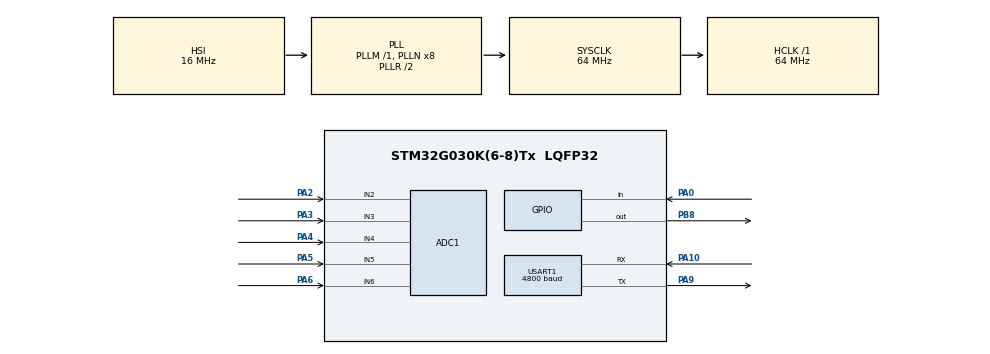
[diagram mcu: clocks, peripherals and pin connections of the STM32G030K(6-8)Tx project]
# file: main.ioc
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ADC1.Channel-0\#ChannelRegularConversion=ADC_CHANNEL_2
ADC1.NbrOfConversionFlag=1
ADC1.Rank-0\#ChannelRegularConversion=1
ADC1.SamplingTime-0\#ChannelRegularConversion=ADC_SAMPLINGTIME_COMMON_1
ADC1.SelectedChannel=ADC_CHANNEL_2|ADC_CHANNEL_3|ADC_CHANNEL_4|ADC_CHANNEL_5|ADC_CHANNEL_6
ADC1.master=1
Dma.ADC1.0.Direction=DMA_PERIPH_TO_MEMORY
Dma.ADC1.0.EventEnable=DISABLE
Dma.ADC1.0.Instance=DMA1_Channel1
Dma.ADC1.0.MemDataAlignment=DMA_MDATAALIGN_HALFWORD
Dma.ADC1.0.MemInc=DMA_MINC_ENABLE
Dma.ADC1.0.Mode=DMA_NORMAL
Dma.ADC1.0.PeriphDataAlignment=DMA_PDATAALIGN_HALFWORD
Dma.ADC1.0.PeriphInc=DMA_PINC_DISABLE
Dma.ADC1.0.Polarity=HAL_DMAMUX_REQ_GEN_RISING
Dma.ADC1.0.Priority=DMA_PRIORITY_LOW
Dma.ADC1.0.RequestNumber=1
Dma.ADC1.0.SignalID=NONE
Dma.ADC1.0.SyncEnable=DISABLE
Dma.ADC1.0.SyncPolarity=HAL_DMAMUX_SYNC_NO_EVENT
Dma.ADC1.0.SyncRequestNumber=1
Dma.ADC1.0.SyncSignalID=NONE
Dma.Request0=ADC1
Mcu.Family=STM32G0
Mcu.Name=STM32G030K(6-8)Tx
Mcu.Package=LQFP32
NVIC.DMA1_Channel1_IRQn=true\:0\:0\:false\:false\:true\:false\:true\:true
PA0.GPIO_PuPd=GPIO_PULLDOWN
PA0.Signal=GPIO_Input
PA10.Mode=Asynchronous
PA10.Signal=USART1_RX
PA13.Mode=Serial_Wire
PA13.Signal=SYS_SWDIO
PA14-BOOT0.Mode=Serial_Wire
PA14-BOOT0.Signal=SYS_SWCLK
PA2.Mode=IN2
PA2.Signal=ADC1_IN2
PA3.Mode=IN3
PA3.Signal=ADC1_IN3
PA4.Mode=IN4
PA4.Signal=ADC1_IN4
PA5.Mode=IN5
PA5.Signal=ADC1_IN5
PA6.Mode=IN6
PA6.Signal=ADC1_IN6
PA9.Mode=Asynchronous
PA9.Signal=USART1_TX
PB8.Signal=GPIO_Output
ProjectManager.HeapSize=0x200
ProjectManager.StackSize=0x400
ProjectManager.TargetToolchain=MDK-ARM V5.32
RCC.ADCFreq_Value=64000000
RCC.AHBFreq_Value=64000000
RCC.CortexFreq_Value=64000000
RCC.EXTERNAL_CLOCK_VALUE=12288000
RCC.HCLKFreq_Value=64000000
RCC.HSE_VALUE=8000000
RCC.HSI_VALUE=16000000
RCC.SYSCLKFreq_VALUE=64000000
RCC.SYSCLKSource=RCC_SYSCLKSOURCE_PLLCLK
RCC.VCOOutputFreq_Value=128000000
USART1.BaudRate=4800
USART1.VirtualMode-Asynchronous=VM_ASYNC
board=custom

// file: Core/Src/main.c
/* USER CODE BEGIN Header */
/**
  ******************************************************************************
  * @file           : main.c
  * @brief          : Main program body
  ******************************************************************************
  * @attention
  *
  * Copyright (c) 2026 STMicroelectronics.
  * All rights reserved.
  *
  * This software is licensed under terms that can be found in the LICENSE file
  * in the root directory of this software component.
  * If no LICENSE file comes with this software, it is provided AS-IS.
  *
  ******************************************************************************
  */
/* USER CODE END Header */
#include "main.h"
#include "adc.h"
#include "dma.h"
#include "usart.h"
#include "gpio.h"

/* USER CODE BEGIN Includes */
#include <stdio.h>
#include <string.h>
/* USER CODE END Includes */

/* USER CODE BEGIN PD */
#define ADC_CH_NUM        5U      /* CH1~CH5 = PA2~PA6 = ADC1_IN2~IN6 */
#define ADC_VREF_MV       3300U   /* VDDA = 3.3V */
#define ADC_FULL_SCALE    4095U   /* 12bit */

/* ---------------- 往从机发帧的节奏 ----------------
   以前是固定 500ms 发一帧，所以手上动作要等下一帧才反映到灯上，看起来"一级一级慢慢变"。
   现在改成：状态一变就立刻发（最小间隔 20ms 防抖），状态不变也至少 200ms 发一次保底。 */
#define SEND_MIN_INTERVAL_MS 20U    /* 两次上报的最小间隔（防止读数抖动时猛发） */
#define SEND_KEEPALIVE_MS    200U   /* 状态没变也至少这么久发一次 */
#define LED_BLINK_MS         500U   /* 主机板载蓝灯闪烁周期（和上报解耦） */

/* 迟滞（mV）：读数在门限附近抖动时，灯的档位不要来回跳。
   规则：>门限 -> 算 1；<门限-迟滞 -> 算 0；中间这段保持上一次状态不变 */
#define GLOVE_HYST_MV        40U

/* ---------------- PA0 按键标定相关 ---------------- */
#define KEY_GPIO_PORT     GPIOA
#define KEY_GPIO_PIN      GPIO_PIN_0
#define KEY_PRESSED_LEVEL 0U      /* 0 = 低电平按下（按键另一端接 GND，本板就是这样）
                                     1 = 高电平按下（按键另一端接 3.3V） */
#define KEY_DEBOUNCE_MS   20U     /* 按键去抖时间 */
#define KEY_SCAN_MS       10U     /* 主循环扫描按键的间隔 */
#define ADC_AVG_TIMES     10U     /* 每次按下采集 10 次 */
#define ADC_AVG_INTERVAL_MS 20U   /* 每次采集间隔 20ms */

/* 标定有效性：两次采样（伸直 / 弯曲）的差至少要有这么大，否则认为这一通道没真正变过姿势，
   标定无效 -> 保留原来的门限。100mV 是经验值，嫌松/紧可以调 */
#define GLOVE_CAL_MIN_DIFF_MV 100U
/* USER CODE END PD */

/* USER CODE BEGIN PV */
static uint16_t adc_raw[ADC_CH_NUM];   /* 本帧 ADC 原始值 0~4095 */
static uint32_t adc_mv[ADC_CH_NUM];    /* 换算后的电压 mV  */

/* DMA 的目标缓冲区：ADC 连续转换 + DMA 循环搬运，这里始终是"最新一帧"的 5 个值 */
static uint16_t adc_dma_buf[ADC_CH_NUM];

/* CH1~CH5 对应的 ADC 通道：PA2=IN2 ... PA6=IN6 */
static const uint32_t ADC_ChannelList[ADC_CH_NUM] =
{
  ADC_CHANNEL_2, ADC_CHANNEL_3, ADC_CHANNEL_4, ADC_CHANNEL_5, ADC_CHANNEL_6
};
static const uint32_t ADC_RankList[ADC_CH_NUM] =
{
  ADC_REGULAR_RANK_1, ADC_REGULAR_RANK_2, ADC_REGULAR_RANK_3,
  ADC_REGULAR_RANK_4, ADC_REGULAR_RANK_5
};

/* ---------------- 按键标定相关 ----------------
   第 1 次按下：采 10 次求平均 -> adc_avg1[]
   第 2 次按下：采 10 次求平均 -> adc_avg2[]
   第 3 次按下：glove_off[i] = (adc_avg1[i] + adc_avg2[i]) / 2，并回到第 1 次重新开始
   例：CH1 第一次 1500、第二次 1600 -> glove_off[0] = 1550                            */
static uint16_t adc_avg1[ADC_CH_NUM];      /* 第一次按下的平均值（mV） */
static uint16_t adc_avg2[ADC_CH_NUM];      /* 第二次按下的平均值（mV） */
static uint16_t glove_off[ADC_CH_NUM] =    /* 判定门限（mV），标定前先用原来的固定值 */
{
  8000, 8000, 8000, 1550, 1600
};
static uint8_t  key_stage = 0U;            /* 0=等第1次  1=已采第1次  2=已采第2次 */
static uint32_t last_send_tick = 0U;       /* 上一次往从机发帧的时刻 */
static uint8_t  last_sent_bits = 0xFFU;    /* 上一次发出去的 5bit 状态（0xFF = 还没发过，保证上电先发一帧） */
static uint32_t led_tick = 0U;             /* 板载蓝灯闪烁计时 */
/* USER CODE END PV */

void SystemClock_Config(void);

/* USER CODE BEGIN 0 */
/**
  * @brief  把 ADC1 配成 5 个规则通道 + DMA 循环搬运（CH1~CH5 = PA2~PA6 = IN2~IN6）
  * @note   1) CubeMX 里 ADC1 目前只勾了 1 个转换（IN2），所以这里重新配一遍；
  *            以后在 CubeMX 里把 5 个通道都勾上，这段再跑一次也不冲突（幂等）。
  *         2) 全程不用中断：ADC 连续转换，DMA 循环往 adc_dma_buf[] 搬，
  *            CPU 只在要上报时读一次缓冲区，完全不参与搬运。
  *         3) 放在 USER CODE 区，CubeMX 重新生成代码不会覆盖。
  */
static void ADC1_Init_5CH_DMA(void)
{
  ADC_ChannelConfTypeDef sConfig = {0};

  /* ------------------ 1. ADC1：5 通道 + 连续转换 + 允许 DMA 循环请求 ------------------ */
  HAL_ADC_DeInit(&hadc1);          /* 复位 ADC，才允许改 NbrOfConversion/ScanConvMode/ContinuousConvMode */

  hadc1.Instance = ADC1;
  hadc1.Init.ClockPrescaler        = ADC_CLOCK_SYNC_PCLK_DIV2;  /* PCLK 64M / 2 = 32MHz */
  hadc1.Init.Resolution            = ADC_RESOLUTION_12B;
  hadc1.Init.DataAlign             = ADC_DATAALIGN_RIGHT;
  hadc1.Init.ScanConvMode          = ADC_SCAN_ENABLE;           /* 序列扫描 */
  hadc1.Init.EOCSelection          = ADC_EOC_SINGLE_CONV;
  hadc1.Init.LowPowerAutoWait      = DISABLE;
  hadc1.Init.LowPowerAutoPowerOff  = DISABLE;
  hadc1.Init.ContinuousConvMode    = ENABLE;                    /* DMA 模式：连续转换不停机 */
  hadc1.Init.NbrOfConversion       = ADC_CH_NUM;
  hadc1.Init.DiscontinuousConvMode = DISABLE;
  hadc1.Init.ExternalTrigConv      = ADC_SOFTWARE_START;
  hadc1.Init.ExternalTrigConvEdge  = ADC_EXTERNALTRIGCONVEDGE_NONE;
  hadc1.Init.DMAContinuousRequests = ENABLE;                    /* ADC 侧持续发 DMA 请求（配合循环模式） */
  hadc1.Init.Overrun               = ADC_OVR_DATA_OVERWRITTEN;  /* 连续采集用覆盖，避免溢出卡死 */
  hadc1.Init.SamplingTimeCommon1   = ADC_SAMPLETIME_39CYCLES_5; /* 采样时间给足，外部传感器也能测 */
  hadc1.Init.SamplingTimeCommon2   = ADC_SAMPLETIME_39CYCLES_5;
  hadc1.Init.OversamplingMode      = DISABLE;
  hadc1.Init.TriggerFrequencyMode  = ADC_TRIGGER_FREQ_HIGH;

  if (HAL_ADC_Init(&hadc1) != HAL_OK)
  {
    Error_Handler();
  }

  /* rank1~rank5 依次对应 CH1~CH5，DMA 也就按这个顺序搬进 adc_dma_buf[] */
  sConfig.SamplingTime = ADC_SAMPLINGTIME_COMMON_1;
  for (uint8_t i = 0; i < ADC_CH_NUM; i++)
  {
    sConfig.Channel = ADC_ChannelList[i];
    sConfig.Rank    = ADC_RankList[i];
    if (HAL_ADC_ConfigChannel(&hadc1, &sConfig) != HAL_OK)
    {
      Error_Handler();
    }
  }

  /* 上电校准一次，提高精度 */
  if (HAL_ADCEx_Calibration_Start(&hadc1) != HAL_OK)
  {
    Error_Handler();
  }

  /* ------------------ 2. DMA1 Channel1：外设(ADC->DR) → 内存(adc_dma_buf) ------------------
     CubeMX 已经在 adc.c 的 HAL_ADC_MspInit() 里把 DMA1_Channel1 配好并挂到 hadc1 上了
     （DMA 请求 = ADC1，外设→内存，半字，内存递增），这里只改一处：模式 Normal -> Circular，
     让它搬满 5 个自动回到开头，永远循环搬运。                                          */
  __HAL_RCC_DMA1_CLK_ENABLE();

  if (hadc1.DMA_Handle == NULL)      /* CubeMX 里 DMA 没勾上时会走到这里 */
  {
    Error_Handler();
  }
  hadc1.DMA_Handle->Init.Mode = DMA_CIRCULAR;
  if (HAL_DMA_Init(hadc1.DMA_Handle) != HAL_OK)
  {
    Error_Handler();
  }

  /* ------------------ 3. 启动：只启动这一次，之后 DMA 一直在后台搬运 ------------------ */
  if (HAL_ADC_Start_DMA(&hadc1, (uint32_t *)adc_dma_buf, ADC_CH_NUM) != HAL_OK)
  {
    Error_Handler();
  }

  /* 本方案刻意不用中断：一帧只要 ~8.5us，若开着 DMA 传输完成中断，中断频率会到 100kHz 以上，
     白白吃 CPU。这里把中断源关掉，主循环想读的时候直接读缓冲区就行。
     （CubeMX 在 NVIC 里打开的 DMA1_Channel1_IRQn 因此永远不会被触发，留着不影响） */
  __HAL_DMA_DISABLE_IT(hadc1.DMA_Handle, DMA_IT_TC | DMA_IT_HT | DMA_IT_TE);
}

/**
  * @brief  取一帧数据（直接从 DMA 缓冲区读，不触发转换、不等待）
  * @note   缓冲区由 DMA 循环覆盖，取到的值最多比"此刻"旧一帧（约 8.5us），做电压上报完全够用。
  *         如果一定要"整帧快照 + 中断通知"，别用 5 个 half-word 的循环缓冲开 TC 中断
  *         （中断频率 100kHz+），要么把缓冲开大几帧，要么改成定时器触发采样。
  */
static void ADC_GetFrame(uint16_t *dst)
{
  for (uint8_t i = 0; i < ADC_CH_NUM; i++)
  {
    dst[i] = adc_dma_buf[i];
  }
}

static void UART_SendStr(const char *s)
{
  HAL_UART_Transmit(&huart1, (uint8_t *)s, (uint16_t)strlen(s), 100U);
}

/*==============================================================================
 *                          PA0 按键 + 标定
 *============================================================================*/

/* 读按键当前是否按下（按 KEY_PRESSED_LEVEL 判断有效电平） */
static uint8_t key_is_pressed(void)
{
  uint8_t level = (HAL_GPIO_ReadPin(KEY_GPIO_PORT, KEY_GPIO_PIN) == GPIO_PIN_SET) ? 1U : 0U;

#if (KEY_PRESSED_LEVEL == 0U)
  return (level == 0U) ? 1U : 0U;     /* 低电平按下 */
#else
  return (level == 1U) ? 1U : 0U;     /* 高电平按下 */
#endif
}

/* 按键扫描（要经常调用，比如每 10ms 一次）；返回 1 = 检测到一次“按下” */
static uint8_t key_scan_press(void)
{
  static uint8_t  stable = 0U;              /* 去抖后的稳定状态：1=按下 */
  static uint32_t stable_tick = 0U;

  uint8_t now = key_is_pressed();

  if (now == stable)
  {
    stable_tick = HAL_GetTick();            /* 状态没变，刷新计时 */
  }
  else if ((HAL_GetTick() - stable_tick) >= KEY_DEBOUNCE_MS)
  {
    stable = now;                           /* 状态稳定保持够了，认可这次变化 */
    if (stable != 0U)
    {
      return 1U;                            /* 刚刚按下 */
    }
  }
  return 0U;
}

/* 连续采 10 次（每次间隔 20ms）求平均，结果换算成 mV 存到 dst[] */
static void adc_sample_avg10(uint16_t *dst)
{
  uint32_t sum[ADC_CH_NUM] = {0};
  uint32_t avg_raw;

  for (uint8_t n = 0U; n < ADC_AVG_TIMES; n++)
  {
    ADC_GetFrame(adc_raw);                  /* 从 DMA 缓冲取一帧（5 个通道） */
    for (uint8_t ch = 0U; ch < ADC_CH_NUM; ch++)
    {
      sum[ch] += adc_raw[ch];
    }
    HAL_Delay(ADC_AVG_INTERVAL_MS);         /* 间隔 20ms 再采下一次 */
  }

  for (uint8_t ch = 0U; ch < ADC_CH_NUM; ch++)
  {
    avg_raw = (sum[ch] + (ADC_AVG_TIMES / 2U)) / ADC_AVG_TIMES;                        /* 平均值(原始值) */
    dst[ch] = (uint16_t)((avg_raw * ADC_VREF_MV + (ADC_FULL_SCALE / 2U)) / ADC_FULL_SCALE); /* 换算成 mV，四舍五入 */
  }
}

/* 按下一次按键要干的事：第1次/第2次采样，第3次算门限 */
static void key_on_press(void)
{
  char line[110];
  int  len;

  switch (key_stage)
  {
    case 0U:                                /* 第 1 次按下 */
      adc_sample_avg10(adc_avg1);
      key_stage = 1U;
      len = snprintf(line, sizeof(line), "KEY1 avg: %u %u %u %u %u (mV)\r\n",
                     (unsigned)adc_avg1[0], (unsigned)adc_avg1[1], (unsigned)adc_avg1[2],
                     (unsigned)adc_avg1[3], (unsigned)adc_avg1[4]);
      break;

    case 1U:                                /* 第 2 次按下 */
      adc_sample_avg10(adc_avg2);
      key_stage = 2U;
      len = snprintf(line, sizeof(line), "KEY2 avg: %u %u %u %u %u (mV)\r\n",
                     (unsigned)adc_avg2[0], (unsigned)adc_avg2[1], (unsigned)adc_avg2[2],
                     (unsigned)adc_avg2[3], (unsigned)adc_avg2[4]);
      break;

    default:                                /* 第 3 次按下：取两次平均值的平均 */
    {
      uint8_t  ok_cnt = 0U;                 /* 本次真正标定成功的通道数 */
      uint16_t diff;

      for (uint8_t ch = 0U; ch < ADC_CH_NUM; ch++)
      {
        /* 两次采样的差（绝对值）——差太小说明两次采的是同一个姿势，标定无效 */
        diff = (adc_avg1[ch] > adc_avg2[ch]) ? (uint16_t)(adc_avg1[ch] - adc_avg2[ch])
                                             : (uint16_t)(adc_avg2[ch] - adc_avg1[ch]);

        if (diff >= GLOVE_CAL_MIN_DIFF_MV)
        {
          glove_off[ch] = (uint16_t)(((uint32_t)adc_avg1[ch] + (uint32_t)adc_avg2[ch] + 1U) / 2U);
          ok_cnt++;
        }
        /* else：这一通道两次姿势几乎一样，门限取中点会落在读数正中间，
           之后读数稍微一抖就全变 1（灯卡在 100% 不动）——所以保留原门限不改 */
      }

      key_stage = 0U;                       /* 回到第 1 次，下次按下重新标定 */
      len = snprintf(line, sizeof(line), "KEY3 off:%u %u %u %u %u ok=%u\r\n",
                     (unsigned)glove_off[0], (unsigned)glove_off[1], (unsigned)glove_off[2],
                     (unsigned)glove_off[3], (unsigned)glove_off[4], (unsigned)ok_cnt);
      break;
    }
  }

  if (len > 0)
  {
    HAL_UART_Transmit(&huart1, (uint8_t *)line, (uint16_t)len, 100U);
  }
}

uint8_t glove[5],glove_send = 0,send_data[3] = {0xCC,0x00,0xEE};
/* USER CODE END 0 */

int main(void)
{

  /* MCU Configuration--------------------------------------------------------*/

  /* Reset of all peripherals, Initializes the Flash interface and the Systick. */
  HAL_Init();

  /* Configure the system clock */
  SystemClock_Config();

  /* Initialize all configured peripherals */
  MX_GPIO_Init();
  MX_DMA_Init();
  MX_ADC1_Init();
  MX_USART1_UART_Init();
  /* USER CODE BEGIN 2 */
  ADC1_Init_5CH_DMA();                   /* ADC1 五通道 + DMA 循环搬运，启动一次即可 */

  /* PA0 按键：CubeMX 里配的是 Pull-down，但板上按键另一端接的是 GND（按下=低电平），
     松开时如果没有上拉引脚会悬空，所以这里把 PA0 重新配成内部上拉。
     ★ 如果你的按键是接 3.3V 的（按下=高电平），把这段删掉，并把 KEY_PRESSED_LEVEL 改成 1 */
  {
    GPIO_InitTypeDef key_gpio = {0};

    key_gpio.Pin  = KEY_GPIO_PIN;
    key_gpio.Mode = GPIO_MODE_INPUT;
    key_gpio.Pull = GPIO_PULLUP;
    HAL_GPIO_Init(KEY_GPIO_PORT, &key_gpio);
  }

  UART_SendStr("glove ready\r\n");        /* 上电提示 */
  /* USER CODE END 2 */

  /* Infinite loop */
  /* USER CODE BEGIN WHILE */
  while (1)
  {
    uint8_t  bits;
    uint32_t now;

    /* ---------------- 1. 每 10ms 扫一次 PA0 按键（去抖在 key_scan_press 里做） ---------------- */
    if (key_scan_press() != 0U)
    {
      /* 第1次按下采 avg1，第2次按下采 avg2，第3次按下算出 glove_off[] */
      key_on_press();
    }

    /* ---------------- 2. 每轮都算一次当前手套状态（读 DMA 缓冲 + 比门限，很快） ---------------- */
    ADC_GetFrame(adc_raw);                   /* DMA 在后台循环搬运，这里不触发转换、不等待 */

    for (uint8_t i = 0U; i < ADC_CH_NUM; i++)
    {
      uint16_t low_th;

      adc_mv[i] = ((uint32_t)adc_raw[i] * ADC_VREF_MV + (ADC_FULL_SCALE / 2U)) / ADC_FULL_SCALE;

      /* 带迟滞的判断：避免读数卡在门限上导致灯的档位来回跳 */
      low_th = (glove_off[i] > GLOVE_HYST_MV) ? (uint16_t)(glove_off[i] - GLOVE_HYST_MV) : 0U;

      if (adc_mv[i] > glove_off[i])
      {
        glove[i] = 1U;
      }
      else if (adc_mv[i] < low_th)
      {
        glove[i] = 0U;
      }
      /* else：落在门限附近的死区里，保持上一次状态不变 */
    }

    /* 只发 CH4/CH5 的数据：bit3 = CH4，bit4 = CH5；CH1~CH3 不发，对应位恒为 0。
       （★ 想改成紧凑格式 bit0=CH4、bit1=CH5，就把下面这行换成：
           bits = (uint8_t)(glove[3] + (glove[4] << 1)); ） */
    bits = (uint8_t)((glove[3] << 3) + (glove[4] << 4));

    if (key_stage != 0U)
    {
      /* 正在标定（按了第 1 次、还没按第 3 次）：不要用旧门限去控制灯，直接发 0（灯灭） */
      bits = 0U;
    }

    /* ---------------- 3. 该发就发：状态一变立刻发；不变则每 SEND_KEEPALIVE_MS 保底发一次 ----------------
       两次发送之间至少隔 SEND_MIN_INTERVAL_MS，避免读数抖动时猛发 */
    now = HAL_GetTick();
    if (((bits != last_sent_bits) || ((now - last_send_tick) >= SEND_KEEPALIVE_MS)) &&
        ((now - last_send_tick) >= SEND_MIN_INTERVAL_MS))
    {
      send_data[1]   = bits;
      last_sent_bits = bits;
      last_send_tick = now;

      HAL_UART_Transmit(&huart1, send_data, 3U, 100U);
    }

    /* ---------------- 4. 板载蓝灯：固定周期翻转，表示程序在跑 ---------------- */
    if ((now - led_tick) >= LED_BLINK_MS)
    {
      led_tick = now;
      HAL_GPIO_TogglePin(GPIOB, GPIO_PIN_8);
    }

    HAL_Delay(KEY_SCAN_MS);
    /* USER CODE END WHILE */

  }
}

void SystemClock_Config(void)
{
  RCC_OscInitTypeDef RCC_OscInitStruct = {0};
  RCC_ClkInitTypeDef RCC_ClkInitStruct = {0};

  /** Configure the main internal regulator output voltage
  */
  HAL_PWREx_ControlVoltageScaling(PWR_REGULATOR_VOLTAGE_SCALE1);

  /** Initializes the RCC Oscillators according to the specified parameters
  * in the RCC_OscInitTypeDef structure.
  */
  RCC_OscInitStruct.OscillatorType = RCC_OSCILLATORTYPE_HSI;
  RCC_OscInitStruct.HSIState = RCC_HSI_ON;
  RCC_OscInitStruct.HSIDiv = RCC_HSI_DIV1;
  RCC_OscInitStruct.HSICalibrationValue = RCC_HSICALIBRATION_DEFAULT;
  RCC_OscInitStruct.PLL.PLLState = RCC_PLL_ON;
  RCC_OscInitStruct.PLL.PLLSource = RCC_PLLSOURCE_HSI;
  RCC_OscInitStruct.PLL.PLLM = RCC_PLLM_DIV1;
  RCC_OscInitStruct.PLL.PLLN = 8;
  RCC_OscInitStruct.PLL.PLLP = RCC_PLLP_DIV2;
  RCC_OscInitStruct.PLL.PLLR = RCC_PLLR_DIV2;
  if (HAL_RCC_OscConfig(&RCC_OscInitStruct) != HAL_OK)
  {
    Error_Handler();
  }

  /** Initializes the CPU, AHB and APB buses clocks
  */
  RCC_ClkInitStruct.ClockType = RCC_CLOCKTYPE_HCLK|RCC_CLOCKTYPE_SYSCLK
                              |RCC_CLOCKTYPE_PCLK1;
  RCC_ClkInitStruct.SYSCLKSource = RCC_SYSCLKSOURCE_PLLCLK;
  RCC_ClkInitStruct.AHBCLKDivider = RCC_SYSCLK_DIV1;
  RCC_ClkInitStruct.APB1CLKDivider = RCC_HCLK_DIV1;

  if (HAL_RCC_ClockConfig(&RCC_ClkInitStruct, FLASH_LATENCY_2) != HAL_OK)
  {
    Error_Handler();
  }
}

void Error_Handler(void)
{
  __disable_irq();
  while (1)
  {
  }
}
